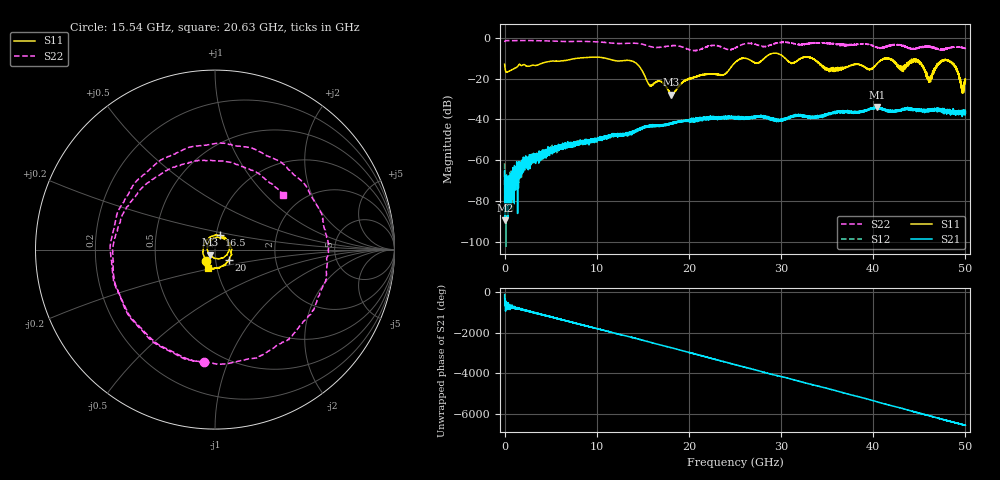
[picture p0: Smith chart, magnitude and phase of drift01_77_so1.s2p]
!Created with skrf (http://scikit-rf.org).
# Hz S RI R 50.0
!freq ReS11 ImS11 ReS21 ImS21 ReS12 ImS12 ReS22 ImS22
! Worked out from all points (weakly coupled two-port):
!   10001 points, 300 kHz to 50 GHz, reference 50 ohm
!   highest |S21| = -33.96 dB at 40.4 GHz (marker M1); lowest = -89.4 dB at 20.3 MHz (marker M2)
!   lowest |S11| = -27.9 dB at 18.09 GHz (marker M3), VSWR 1.08, Z = 47.2 - j2.68 ohm
!   |S11| at or under -10 dB: 10.9 GHz to 25.86 GHz (14.96 GHz wide, 81.4 % of centre); 33.32 GHz to 41.68 GHz (8.36 GHz wide, 22.3 % of centre); 41.69 GHz to end of sweep (the widest 3 of 19)
!   |S22| runs from -6.4 to -1.4 dB; largest |S21 - S12| = 0.0041
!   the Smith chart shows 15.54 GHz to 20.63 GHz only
!   S11 on the Smith chart (normalised r, x): 15.54 GHz: 0.90, -0.11; 16.5 GHz: 1.04, +0.17; 20 GHz: 1.16, -0.13; 20.63 GHz: 0.91, -0.19
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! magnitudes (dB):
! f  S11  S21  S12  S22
! 300 kHz  -13.0  -65.1  -61.6  -2.1
! 20.3 MHz  -13.7  -89.4  -80.6  -1.9
! 255.3 MHz  -16.9  -75.1  -73.8  -1.4
! 2.87 GHz  -13.7  -59.5  -61.1  -1.4
! 8.335 GHz  -9.9  -51.3  -51.9  -1.8
! 13.87 GHz  -11.5  -47.3  -46.7  -2.7
! 15.54 GHz  -22.0  -43.6  -43.3  -4.0
! 16.5 GHz  -21.6  -43.5  -43.2  -4.8
! 16.67 GHz  -21.3  -43.2  -43.2  -4.8
! 18.09 GHz  -27.9  -41.8  -42.3  -4.0
! 20 GHz  -20.3  -40.1  -40.4  -5.8
! 20.63 GHz  -19.4  -40.2  -40.6  -6.3
! 25 GHz  -12.2  -38.8  -39.2  -5.0
! 33.34 GHz  -10.1  -38.6  -38.8  -2.6
! 35.19 GHz  -15.6  -37.0  -37.4  -2.7
! 40.4 GHz  -13.0  -34.0  -34.4  -4.9
! 41.67 GHz  -10.0  -35.8  -35.9  -4.0
! 43.03 GHz  -15.2  -35.3  -35.1  -3.7
! 44.82 GHz  -11.4  -35.4  -35.8  -4.9
! 46.11 GHz  -20.8  -35.5  -35.6  -4.6
! 48.04 GHz  -11.2  -35.6  -36.3  -5.3
! 50 GHz  -21.4  -37.0  -36.3  -5.2
